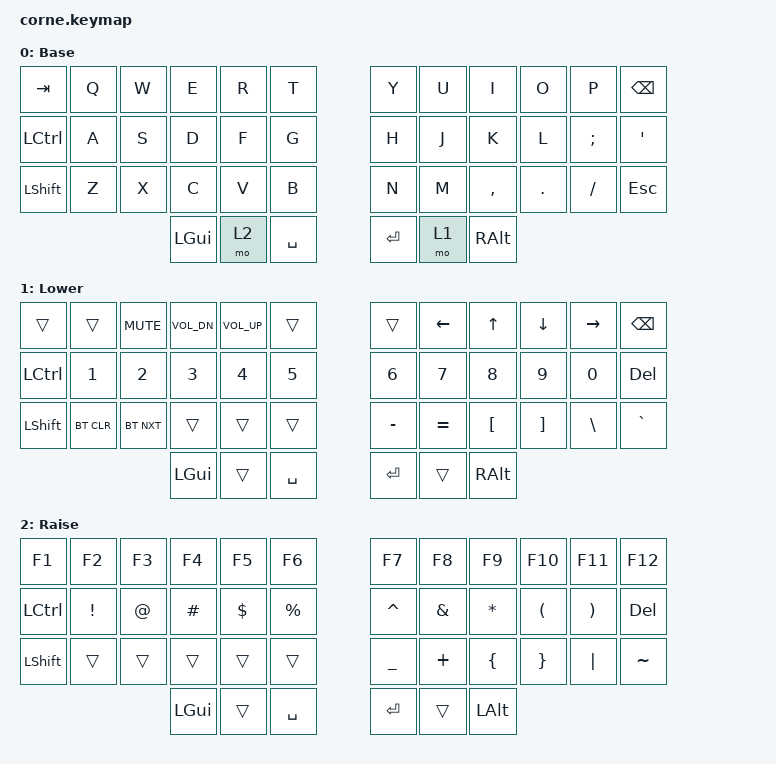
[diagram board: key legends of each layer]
/*
 * Copyright (c) 2020 The ZMK Contributors
 *
 * SPDX-License-Identifier: MIT
 */

#include <behaviors.dtsi>
#include <dt-bindings/zmk/keys.h>
#include <dt-bindings/zmk/bt.h>

/ {
        keymap {
                compatible = "zmk,keymap";

                default_layer {
// -----------------------------------------------------------------------------------------
// | TAB  |  Q  |  W  |  E  |  R  |  T  |   |  Y  |  U   |  I  |  O  |  P  | BKSP |
// | CTRL |  A  |  S  |  D  |  F  |  G  |   |  H  |  J   |  K  |  L  |  ;  |  '   |
// | SHFT |  Z  |  X  |  C  |  V  |  B  |   |  N  |  M   |  ,  |  .  |  /  | ESC  |
//                    | GUI | RSE | SPC |   | ENT | LWR  | ALT |
                        display-name = "Base";
                        bindings = <
   &kp TAB   &kp Q &kp W &kp E &kp R &kp T   &kp Y &kp U  &kp I     &kp O   &kp P    &kp BSPC
   &kp LCTRL &kp A &kp S &kp D &kp F &kp G   &kp H &kp J  &kp K     &kp L   &kp SEMI &kp SQT
   &kp LSHFT &kp Z &kp X &kp C &kp V &kp B   &kp N &kp M  &kp COMMA &kp DOT &kp FSLH &kp ESC
                  &kp LGUI &mo 2 &kp SPACE   &kp RET &mo 1 &kp RALT
                        >;
                };
                lower_layer {
// -----------------------------------------------------------------------------------------
// |      |       | MUTE| VOL-| VOL+|     |   |     | LFT |  UP | DWN | RGT | BKSP |
// | CTRL |   1   |  2  |  3  |  4  |  5  |   |  6  |  7  |  8  |  9  |  0  | DEL  |
// | SHFT | BTCLR | BTNXT |   |     |     |   |  -  |  =  |  [  |  ]  |  \  |  `   |
//                      | GUI |     | SPC |   | ENT |     | ALT |
                        display-name = "Lower";
                        bindings = <
   &trans     &trans &kp C_MUTE &kp C_VOL_DN &kp C_VOL_UP &trans   &trans &kp LEFT &kp UP &kp DOWN &kp RIGHT &kp BSPC 
   &kp LCTRL  &kp N1 &kp N2 &kp N3 &kp N4 &kp N5                   &kp N6 &kp N7 &kp N8 &kp N9 &kp N0 &kp DEL
   &kp LSHFT  &bt BT_CLR &bt BT_NXT &trans &trans &trans           &kp MINUS &kp EQUAL &kp LBKT &kp RBKT &kp BSLH &kp GRAVE
                        &kp LGUI &trans &kp SPACE                  &kp RET &trans &kp RALT
                        >;
                };

                raise_layer {
// -----------------------------------------------------------------------------------------
// | F1   |  F2 |  F3 |  F4 |  F5 |  F6 |   | F7  | F8  | F9  | F10 | F11 | F12  |
// | CTRL |  !  |  @  |  #  |  $  |  %  |   |  ^  |  &  |  *  |  (  |  )  | DEL  |
// | SHFT |     |     |     |     |     |   |  _  |  +  |  {  |  }  | "|" |  ~   |
//                    | GUI |     | SPC |   | ENT |     | ALT |
                        display-name = "Raise";
                        bindings = <
   &kp F1      &kp F2 &kp F3 &kp F4 &kp F5 &kp F6           &kp F7 &kp F8 &kp F9 &kp F10 &kp F11 &kp F12 
   &kp LCTRL   &kp EXCL &kp AT &kp HASH &kp DLLR &kp PRCNT  &kp CARET &kp AMPS &kp STAR &kp LPAR &kp RPAR &kp DEL
 &kp LSHFT   &trans &trans &trans &trans &trans           &kp UNDER &kp PLUS &kp LBRC &kp RBRC &kp PIPE &kp TILDE
                    	     &kp LGUI &trans &kp SPACE           &kp RET &trans &kp LALT
                        >;
                };

                extra_1 {
                        status = "reserved";
                };

                extra_2 {
                        status = "reserved";
                };

                extra_3 {
                        status = "reserved";
                };
        };
};
